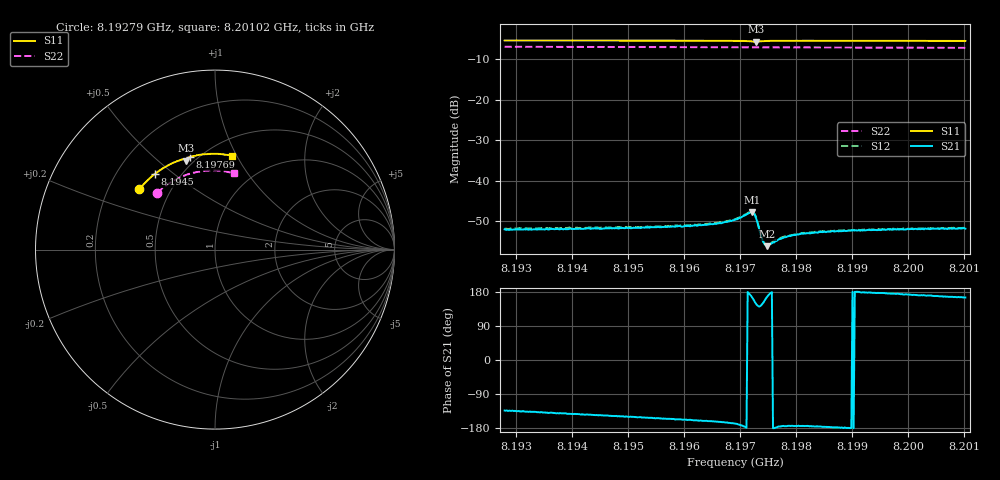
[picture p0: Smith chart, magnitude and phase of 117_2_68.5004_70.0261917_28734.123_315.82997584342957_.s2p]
#  HZ  S  RI  R  50.00
! Rohde & Schwarz Vector Network Analyzer
! Rohde-Schwarz,ZNB20-2Port,1311601062101988,3.16
! Created: UTC 3/20/2024, 4:53:48 PM
! freq[Hz]  re:S11  im:S11  re:S21  im:S21  re:S12  im:S12  re:S22  im:S22
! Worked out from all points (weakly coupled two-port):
!   401 points, 8.19279 GHz to 8.20102 GHz, reference 50 ohm
!   highest |S21| = -47.73 dB at 8.19722 GHz (marker M1); lowest = -56.1 dB at 8.19748 GHz (marker M2)
!   lowest |S11| = -5.7 dB at 8.19728 GHz (marker M3), VSWR 3.17, Z = 22.9 + j31.1 ohm
!   |S11| at or under -10 dB: nowhere
!   |S22| runs from -7.2 to -6.9 dB; largest |S21 - S12| = 0.0002
!   S11 on the Smith chart (normalised r, x): 8.19279 GHz: 0.33, +0.31; 8.1945 GHz: 0.36, +0.43; 8.19769 GHz: 0.46, +0.66; 8.20102 GHz: 0.66, +0.96
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8.192794e9  -0.4221 0.3361  -0.00173 -0.00184  -0.00182 -0.00183  -0.321 0.3168
8.194172e9  -0.3543 0.4058  -0.00205 -0.00153  -0.00217 -0.00151  -0.2615 0.365
8.194501e9  -0.3364 0.4206  -0.00211 -0.00144  -0.00225 -0.00141  -0.2463 0.3751
8.19555e9  -0.2749 0.462  -0.00242 -0.0012  -0.0025 -0.00113  -0.1944 0.4024
8.196394e9  -0.221 0.489  -0.00271 -0.000961  -0.00283 -0.00086  -0.1504 0.4195
8.196702e9  -0.1998 0.4974  -0.00295 -0.000853  -0.00304 -0.000732  -0.1339 0.4246
8.196908e9  -0.1844 0.502  -0.00324 -0.000689  -0.00333 -0.000534  -0.1226 0.4275
8.197155e9  -0.1635 0.5025  -0.004 0.000274  -0.00408 0.000443  -0.1091 0.4305
8.197216e9  -0.1596 0.4988  -0.00396 0.0011  -0.00393 0.00126  -0.1056 0.4312
8.197257e9  -0.1597 0.4962  -0.00347 0.00166  -0.00346 0.00182  -0.1036 0.4316
8.197278e9  -0.1605 0.4956  -0.00306 0.00183  -0.00306 0.00199  -0.1025 0.4319
8.197401e9  -0.1618 0.5032  -0.00157 0.000949  -0.00159 0.00101  -0.0959 0.4332
8.197443e9  -0.1592 0.5063  -0.00152 0.000601  -0.00155 0.00067  -0.0936 0.4339
8.197484e9  -0.1563 0.5087  -0.00153 0.000348  -0.00157 0.000439  -0.0915 0.4344
8.197525e9  -0.1532 0.5106  -0.00164 0.000165  -0.00164 0.000241  -0.0891 0.4346
8.197689e9  -0.1407 0.5159  -0.0019 -0.000153  -0.00189 -3.72e-05  -0.0798 0.4361
8.197772e9  -0.1344 0.5178  -0.00197 -0.000211  -0.00204 -0.000104  -0.0752 0.4368
8.197916e9  -0.1239 0.5205  -0.00212 -0.000239  -0.00214 -0.000137  -0.0672 0.438
8.198286e9  -0.0974 0.526  -0.00228 -0.000194  -0.00232 -9.65e-05  -0.0464 0.44
8.199068e9  -0.0418 0.5326  -0.00247 3.52e-06  -0.00252 0.00015  -0.0022 0.441
8.199664e9  0.000466 0.5337  -0.0025 0.000195  -0.00252 0.000312  0.0316 0.4388
8.201022e9  0.0959 0.5234  -0.00249 0.000667  -0.00252 0.000809  0.1071 0.4241
